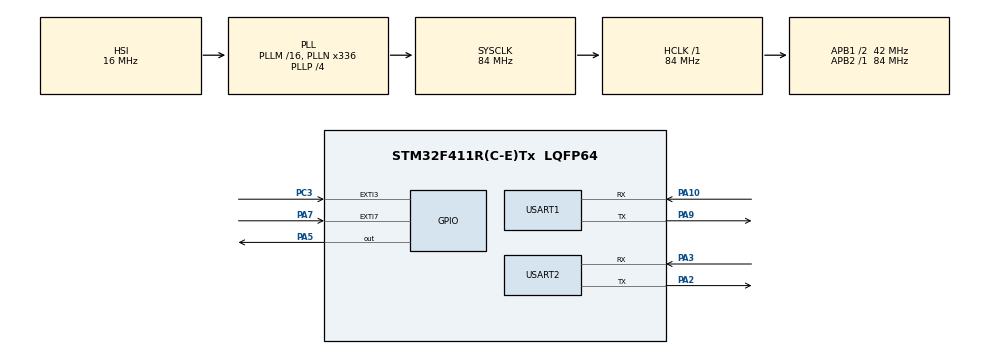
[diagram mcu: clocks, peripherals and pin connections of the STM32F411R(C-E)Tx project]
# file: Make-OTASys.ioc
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Mcu.Family=STM32F4
RCC.CortexFreq_Value=84000000
PA10.Mode=Asynchronous
PH1\ -\ OSC_OUT.Mode=HSE-External-Oscillator
NVIC.EXTI3_IRQn=true\:0\:0\:false\:false\:true\:true\:true
RCC.APB1CLKDivider=RCC_HCLK_DIV2
NVIC.USART2_IRQn=true\:0\:0\:false\:false\:true\:true\:true
RCC.SYSCLKSource=RCC_SYSCLKSOURCE_PLLCLK
ProjectManager.StackSize=0x400
PA3.Mode=Asynchronous
PA9.Mode=Asynchronous
PH0\ -\ OSC_IN.Mode=HSE-External-Oscillator
PH0\ -\ OSC_IN.Signal=RCC_OSC_IN
ProjectManager.TargetToolchain=STM32CubeIDE
RCC.HCLKFreq_Value=84000000
RCC.APB2TimFreq_Value=84000000
PA9.Signal=USART1_TX
PC3.Signal=GPXTI3
RCC.LSE_VALUE=32768
RCC.AHBFreq_Value=84000000
PA5.Signal=GPIO_Output
RCC.HSE_VALUE=25000000
PH1\ -\ OSC_OUT.Signal=RCC_OSC_OUT
board=custom
RCC.VCOOutputFreq_Value=336000000
RCC.APB2Freq_Value=84000000
Mcu.Name=STM32F411R(C-E)Tx
PA2.Signal=USART2_TX
RCC.48MHZClocksFreq_Value=84000000
RCC.SYSCLKFreq_VALUE=84000000
Mcu.Package=LQFP64
USART2.VirtualMode=VM_ASYNC
USART1.VirtualMode=VM_ASYNC
NVIC.EXTI9_5_IRQn=true\:0\:0\:false\:false\:true\:true\:true
PA10.Signal=USART1_RX
ProjectManager.HeapSize=0x200
RCC.HSI_VALUE=16000000
RCC.PLLP=RCC_PLLP_DIV4
NVIC.PriorityGroup=NVIC_PRIORITYGROUP_4
RCC.PLLN=336
RCC.APB1TimFreq_Value=84000000
PA2.Mode=Asynchronous
NVIC.USART1_IRQn=true\:0\:0\:false\:false\:true\:true\:true
RCC.APB1Freq_Value=42000000
VP_CRC_VS_CRC.Mode=CRC_Activate
PA3.Signal=USART2_RX
PA7.Signal=GPXTI7

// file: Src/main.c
/* USER CODE BEGIN Header */
/**
  ******************************************************************************
  * @file           : main.c
  * @brief          : Main program body
  ******************************************************************************
  * @attention
  *
  * <h2><center>&copy; Copyright (c) 2020 STMicroelectronics.
  * All rights reserved.</center></h2>
  *
  * This software component is licensed by ST under BSD 3-Clause license,
  * the "License"; You may not use this file except in compliance with the
  * License. You may obtain a copy of the License at:
  *                        opensource.org/licenses/BSD-3-Clause
  *
  ******************************************************************************
  */
/* USER CODE END Header */

#include "main.h"
#include "wifi_uart.h"
#include "eeprom.h"
#include "string.h"

CRC_HandleTypeDef hcrc;

UART_HandleTypeDef huart1;
UART_HandleTypeDef huart2;

void SystemClock_Config(void);
static void MX_GPIO_Init(void);
static void MX_CRC_Init(void);
static void MX_USART1_UART_Init(void);
static void MX_USART2_UART_Init(void);
/* USER CODE BEGIN PFP */
uint32_t Address = 0x0800C000;
uint16_t Rx_data[2];

uint16_t VirtAddVarTab[NB_OF_VAR] = {0x5555, 0x6666, 0x7777};
uint16_t VarDataTab[NB_OF_VAR] = {0, 0, 0};
uint16_t VarValue,VarDataTmp = 0;

#ifdef __GNUC__
 /* With GCC/RAISONANCE, small printf (option LD Linker->Libraries->Small printf
 set to 'Yes') calls __io_putchar() */
 #define PUTCHAR_PROTOTYPE int __io_putchar(int ch)
#else
 #define PUTCHAR_PROTOTYPE int fputc(int ch, FILE *f)
#endif /* __GNUC__ */

/**
 * @brief Retargets the C library printf function to the USART.
 * @param None
 * @retval None
 */
PUTCHAR_PROTOTYPE
{
 /* Place your implementation of fputc here */
 /* e.g. write a character to the USART */
 HAL_UART_Transmit(&huart2, (uint8_t *)&ch, 1, 100);

 return ch;
}
/* USER CODE END PFP */

/* USER CODE BEGIN 0 */
void HAL_UART_RxCpltCallback(UART_HandleTypeDef *huart){
	uint8_t i;
	if (huart->Instance == USART1){
		if((uint8_t*)(Rx_data[0] >> 8) != 0x0d && (uint8_t*)(Rx_data[0] >> 8) != 0x0a && (uint8_t*)(Rx_data[0] >> 8) != 0x52 && (uint8_t*)Rx_data[0] != 0x0d && (uint8_t*)Rx_data[0] != 0x0a&& (uint8_t*)Rx_data[0] != 0x52) {

		uint16_t test_rx[2];
		test_rx[0] = Rx_data[0];
		//test_rx[1] = Rx_data[1];
		Address = Address + 2;
		HAL_FLASH_Program(FLASH_TYPEPROGRAM_HALFWORD,Address, Rx_data[0] );
		HAL_UART_Transmit(&huart1,(uint8_t*)&test_rx, 1,0xFFFF);

		}
	}
}

/* USER CODE END 0 */

int main(void)
{

  /* MCU Configuration--------------------------------------------------------*/

  /* Reset of all peripherals, Initializes the Flash interface and the Systick. */
  HAL_Init();

  /* Configure the system clock */
  SystemClock_Config();

  /* Initialize all configured peripherals */
  MX_GPIO_Init();
  MX_CRC_Init();
  MX_USART1_UART_Init();
  MX_USART2_UART_Init();
  /* USER CODE BEGIN 2 */
  if(setBUSmode(BUS_COMMAND_MODE) == -1){
	  HAL_UART_Transmit(&huart1, (uint8_t*) "Failed", 8, 0xFFFF);
	  printf("Failed");
  }
  HAL_Delay(2000);
  setCmdMode(MACHINE_MODE);
  HAL_Delay(100);
  setupNetwork(WIFI_SSID,WIFI_PASS);
  HAL_Delay(100);
  setAutoJoinWifi(ENABLE);
  HAL_Delay(100);
  setAutostartTCP(ENABLE);
  HAL_Delay(100);
  setTCPServer(TCP_PORT,300);
  HAL_Delay(100);
  setBUSmode(BUS_STREAM_MODE);
  HAL_Delay(2000);
  HAL_UART_Receive_IT(&huart1, Rx_data, 2);
  EE_Init();
  HAL_FLASH_Unlock();

  /* USER CODE END 2 */

  /* Infinite loop */
  /* USER CODE BEGIN WHILE */
  while (1)
  {

	HAL_GPIO_TogglePin(GPIOA,GPIO_PIN_5);
	HAL_Delay(1000);
    /* USER CODE END WHILE */

  }
}

void SystemClock_Config(void)
{
  RCC_OscInitTypeDef RCC_OscInitStruct = {0};
  RCC_ClkInitTypeDef RCC_ClkInitStruct = {0};

  /** Configure the main internal regulator output voltage
  */
  __HAL_RCC_PWR_CLK_ENABLE();
  __HAL_PWR_VOLTAGESCALING_CONFIG(PWR_REGULATOR_VOLTAGE_SCALE1);
  /** Initializes the CPU, AHB and APB busses clocks
  */
  RCC_OscInitStruct.OscillatorType = RCC_OSCILLATORTYPE_HSI;
  RCC_OscInitStruct.HSIState = RCC_HSI_ON;
  RCC_OscInitStruct.HSICalibrationValue = RCC_HSICALIBRATION_DEFAULT;
  RCC_OscInitStruct.PLL.PLLState = RCC_PLL_ON;
  RCC_OscInitStruct.PLL.PLLSource = RCC_PLLSOURCE_HSI;
  RCC_OscInitStruct.PLL.PLLM = 16;
  RCC_OscInitStruct.PLL.PLLN = 336;
  RCC_OscInitStruct.PLL.PLLP = RCC_PLLP_DIV4;
  RCC_OscInitStruct.PLL.PLLQ = 4;
  if (HAL_RCC_OscConfig(&RCC_OscInitStruct) != HAL_OK)
  {
    Error_Handler();
  }
  /** Initializes the CPU, AHB and APB busses clocks
  */
  RCC_ClkInitStruct.ClockType = RCC_CLOCKTYPE_HCLK|RCC_CLOCKTYPE_SYSCLK
                              |RCC_CLOCKTYPE_PCLK1|RCC_CLOCKTYPE_PCLK2;
  RCC_ClkInitStruct.SYSCLKSource = RCC_SYSCLKSOURCE_PLLCLK;
  RCC_ClkInitStruct.AHBCLKDivider = RCC_SYSCLK_DIV1;
  RCC_ClkInitStruct.APB1CLKDivider = RCC_HCLK_DIV2;
  RCC_ClkInitStruct.APB2CLKDivider = RCC_HCLK_DIV1;

  if (HAL_RCC_ClockConfig(&RCC_ClkInitStruct, FLASH_LATENCY_2) != HAL_OK)
  {
    Error_Handler();
  }
}

static void MX_CRC_Init(void)
{

  hcrc.Instance = CRC;
  if (HAL_CRC_Init(&hcrc) != HAL_OK)
  {
    Error_Handler();
  }

}

static void MX_USART1_UART_Init(void)
{

  huart1.Instance = USART1;
  huart1.Init.BaudRate = 115200;
  huart1.Init.WordLength = UART_WORDLENGTH_8B;
  huart1.Init.StopBits = UART_STOPBITS_1;
  huart1.Init.Parity = UART_PARITY_NONE;
  huart1.Init.Mode = UART_MODE_TX_RX;
  huart1.Init.HwFlowCtl = UART_HWCONTROL_NONE;
  huart1.Init.OverSampling = UART_OVERSAMPLING_16;
  if (HAL_UART_Init(&huart1) != HAL_OK)
  {
    Error_Handler();
  }

}

static void MX_USART2_UART_Init(void)
{

  huart2.Instance = USART2;
  huart2.Init.BaudRate = 115200;
  huart2.Init.WordLength = UART_WORDLENGTH_8B;
  huart2.Init.StopBits = UART_STOPBITS_1;
  huart2.Init.Parity = UART_PARITY_NONE;
  huart2.Init.Mode = UART_MODE_TX_RX;
  huart2.Init.HwFlowCtl = UART_HWCONTROL_NONE;
  huart2.Init.OverSampling = UART_OVERSAMPLING_16;
  if (HAL_UART_Init(&huart2) != HAL_OK)
  {
    Error_Handler();
  }

}

static void MX_GPIO_Init(void)
{
  GPIO_InitTypeDef GPIO_InitStruct = {0};

  /* GPIO Ports Clock Enable */
  __HAL_RCC_GPIOH_CLK_ENABLE();
  __HAL_RCC_GPIOC_CLK_ENABLE();
  __HAL_RCC_GPIOA_CLK_ENABLE();

  /*Configure GPIO pin Output Level */
  HAL_GPIO_WritePin(GPIOA, GPIO_PIN_5, GPIO_PIN_RESET);

  /*Configure GPIO pin : PC3 */
  GPIO_InitStruct.Pin = GPIO_PIN_3;
  GPIO_InitStruct.Mode = GPIO_MODE_IT_RISING;
  GPIO_InitStruct.Pull = GPIO_NOPULL;
  HAL_GPIO_Init(GPIOC, &GPIO_InitStruct);

  /*Configure GPIO pin : PA5 */
  GPIO_InitStruct.Pin = GPIO_PIN_5;
  GPIO_InitStruct.Mode = GPIO_MODE_OUTPUT_PP;
  GPIO_InitStruct.Pull = GPIO_NOPULL;
  GPIO_InitStruct.Speed = GPIO_SPEED_FREQ_LOW;
  HAL_GPIO_Init(GPIOA, &GPIO_InitStruct);

  /*Configure GPIO pin : PA7 */
  GPIO_InitStruct.Pin = GPIO_PIN_7;
  GPIO_InitStruct.Mode = GPIO_MODE_IT_RISING;
  GPIO_InitStruct.Pull = GPIO_NOPULL;
  HAL_GPIO_Init(GPIOA, &GPIO_InitStruct);

  /* EXTI interrupt init*/
  HAL_NVIC_SetPriority(EXTI3_IRQn, 0, 0);
  HAL_NVIC_EnableIRQ(EXTI3_IRQn);

  HAL_NVIC_SetPriority(EXTI9_5_IRQn, 0, 0);
  HAL_NVIC_EnableIRQ(EXTI9_5_IRQn);

}

void Error_Handler(void)
{
}

/************************ (C) COPYRIGHT STMicroelectronics *****END OF FILE****/
